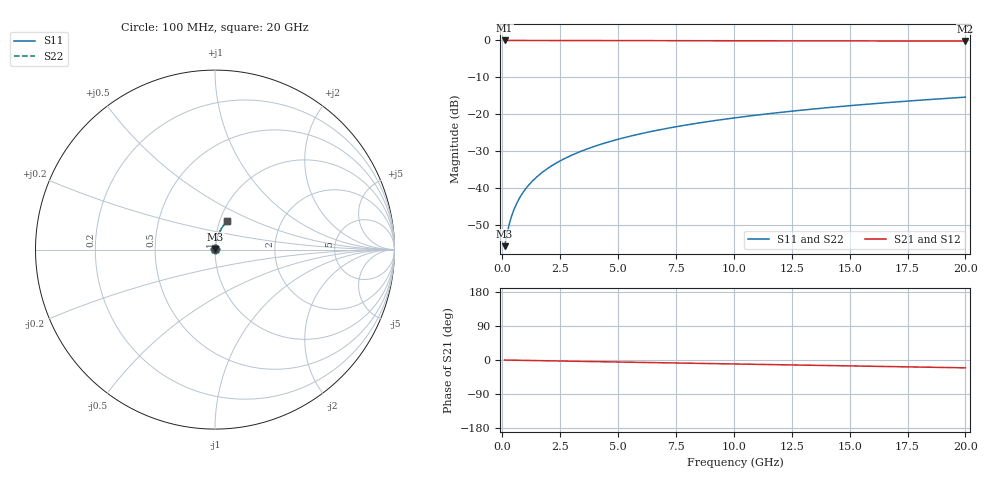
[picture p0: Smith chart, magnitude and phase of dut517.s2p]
! Touchstone file exported from HFSS 2026.1.0
!  File:  C:/ffzhzh/LocalFiles/Ansys_Project_Files/temp_train_BSMRDL_517_1783014522_51716.aedt
!  Generated:  01:50:05 AM Jul  3, 2026
!  Design:  BSMRDL
!  Project:  temp_train_BSMRDL_517_1783014522_51716
! Variables:
!  h_bsmrdl = 4.04um
!  h_ox = 20um
!  h_rdl = 5um
!  h_sub = 80um
!  h_tmrdl = 5um
!  h_tsv = 80um
!  h_via = 3um
!  l_bsmrdl = 292.98um
!  l_sub = 692.98um
!  l_tmrdl = 200um
!  m_sub = 200um
!  pitch = 45.22um
!  r_tsv = 6um
!  s_tmrdl = 10um
!  w_bsmrdl = 25.53um
!  w_sub = 500um
!  w_tmrdl = 12um
!  x_tsv_center1 = 206um
!  x_tsv_center2 = 524.51um
!  x_tsv_center3 = 736.51um
!  x_tsv_center4 = 1055.02um
!  x_tsv_center5 = 1267.02um
!  x_tsv_center6 = 1585.53um
# GHz S MA R 50.000000
! Terminal data exported
! Port[1] = BSM_RDL1_1_T1
! Port[2] = BSM_RDL1_1_T2
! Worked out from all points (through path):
!   200 points, 100 MHz to 20 GHz, reference 50 ohm
!   highest |S21| = -0.01 dB at 100 MHz (marker M1); lowest = -0.2 dB at 20 GHz (marker M2)
!   group delay of S21, straight-line fit = 2.87 ps
!   lowest |S11| = -55.8 dB at 100 MHz (marker M3), VSWR 1.00, Z = 50.1 + j0.105 ohm
!   |S11| at or under -10 dB: start of sweep to end of sweep
!   |S22| runs from -55.8 to -15.4 dB; largest |S21 - S12| = 5.3e-15
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0.1  0.001614 40.6  0.9988 -0.1  0.9988 -0.1  0.001614 40.6
! Gamma 0 0 0 0
! Port Impedance 50 0 50 0
0.2  0.002341 58.3  0.9987 -0.2  0.9987 -0.2  0.002338 58.0
0.3  0.003204 66.7  0.9986 -0.3  0.9986 -0.3  0.003198 66.6
0.4  0.004109 71.3  0.9985 -0.4  0.9985 -0.4  0.004101 71.2
0.5  0.005027 74.2  0.9985 -0.5  0.9985 -0.5  0.005017 74.1
0.6  0.005946 76.0  0.9985 -0.7  0.9985 -0.7  0.005937 76.0
0.8  0.007781 78.4  0.9984 -0.9  0.9984 -0.9  0.007773 78.4
1.1  0.01052 80.3  0.9983 -1.2  0.9983 -1.2  0.01051 80.3
1.5  0.01415 81.5  0.9982 -1.6  0.9982 -1.6  0.01415 81.5
1.8  0.01688 82.0  0.9981 -1.9  0.9981 -1.9  0.01687 82.0
2.1  0.0196 82.3  0.998 -2.3  0.998 -2.3  0.01959 82.3
2.7  0.02502 82.5  0.9977 -2.9  0.9977 -2.9  0.02502 82.5
3.5  0.03222 82.2  0.9972 -3.7  0.9972 -3.7  0.03222 82.2
4.2  0.03848 81.8  0.9968 -4.5  0.9968 -4.5  0.03848 81.8
5  0.04557 81.2  0.9962 -5.3  0.9962 -5.3  0.04557 81.2
5.9  0.05348 80.4  0.9955 -6.3  0.9955 -6.3  0.05348 80.4
6.8  0.06131 79.6  0.9947 -7.2  0.9947 -7.2  0.06131 79.6
8.3  0.07423 78.3  0.9934 -8.8  0.9934 -8.8  0.07423 78.3
10.1  0.08952 76.6  0.9917 -10.6  0.9917 -10.6  0.08953 76.6
13.4  0.117 73.6  0.9881 -14.0  0.9881 -14.0  0.117 73.6
16.7  0.1438 70.4  0.984 -17.3  0.984 -17.3  0.1438 70.4
20  0.1698 67.3  0.9794 -20.7  0.9794 -20.7  0.1698 67.3
